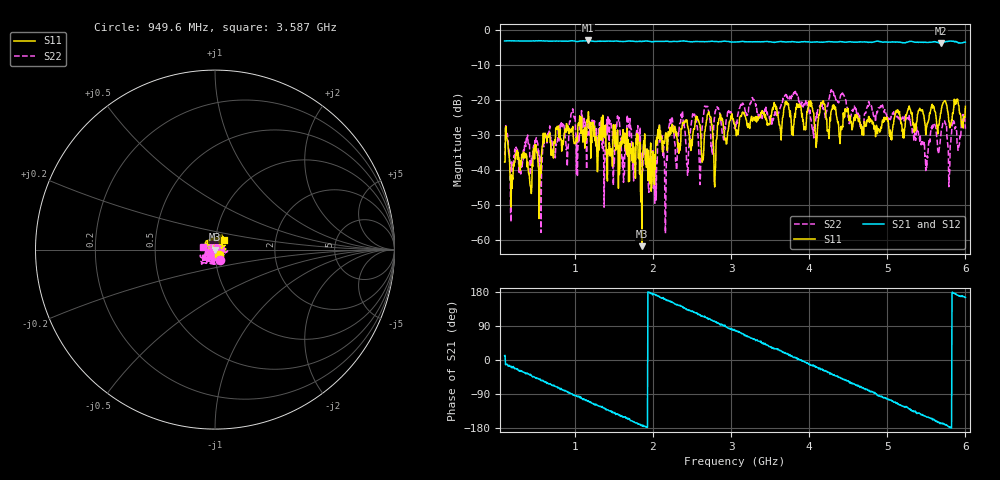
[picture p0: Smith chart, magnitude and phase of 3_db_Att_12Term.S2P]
!Created with skrf (http://scikit-rf.org).
# MHz S RI R 50.0
!freq ReS11 ImS11 ReS21 ImS21 ReS12 ImS12 ReS22 ImS22
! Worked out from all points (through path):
!   1001 points, 100 MHz to 6 GHz, reference 50 ohm
!   highest |S21| = -2.92 dB at 1.168 GHz (marker M1); lowest = -3.7 dB at 5.687 GHz (marker M2)
!   group delay of S21, straight-line fit = 257 ps
!   lowest |S11| = -61.7 dB at 1.858 GHz (marker M3), VSWR 1.00, Z = 50 - j0.0808 ohm
!   |S11| at or under -10 dB: start of sweep to end of sweep
!   |S22| runs from -58.0 to -17.0 dB; largest |S21 - S12| = 0.088
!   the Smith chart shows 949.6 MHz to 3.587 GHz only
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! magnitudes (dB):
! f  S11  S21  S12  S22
! 100 MHz  -37.6  -3.1  -3.0  -35.2
! 430.4 MHz  -44.5  -3.1  -3.1  -41.4
! 625.1 MHz  -29.8  -3.1  -3.1  -30.4
! 1.085 GHz  -24.8  -3.1  -3.1  -22.9
! 1.168 GHz  -24.8  -2.9  -2.9  -27.5
! 1.858 GHz  -61.7  -3.2  -3.1  -41.6
! 2.071 GHz  -30.9  -3.2  -3.0  -30.9
! 2.153 GHz  -31.4  -3.1  -3.1  -51.7
! 2.23 GHz  -29.4  -3.3  -3.2  -26.5
! 2.442 GHz  -27.3  -3.2  -3.2  -41.4
! 2.525 GHz  -28.1  -3.2  -3.2  -24.3
! 2.602 GHz  -26.9  -3.2  -3.2  -44.1
! 2.678 GHz  -27.2  -3.3  -3.2  -21.7
! 2.79 GHz  -44.7  -3.2  -3.1  -24.5
! 2.855 GHz  -25.0  -3.2  -3.2  -23.9
! 3.05 GHz  -26.9  -3.4  -3.3  -27.3
! 3.817 GHz  -23.8  -3.3  -3.3  -18.1
! 4.035 GHz  -22.0  -3.4  -3.3  -27.6
! 4.295 GHz  -22.6  -3.3  -3.3  -17.5
! 5.021 GHz  -28.2  -3.4  -3.3  -25.1
! 5.687 GHz  -23.6  -3.7  -3.5  -29.6
! 6 GHz  -21.7  -3.4  -3.3  -28.1
